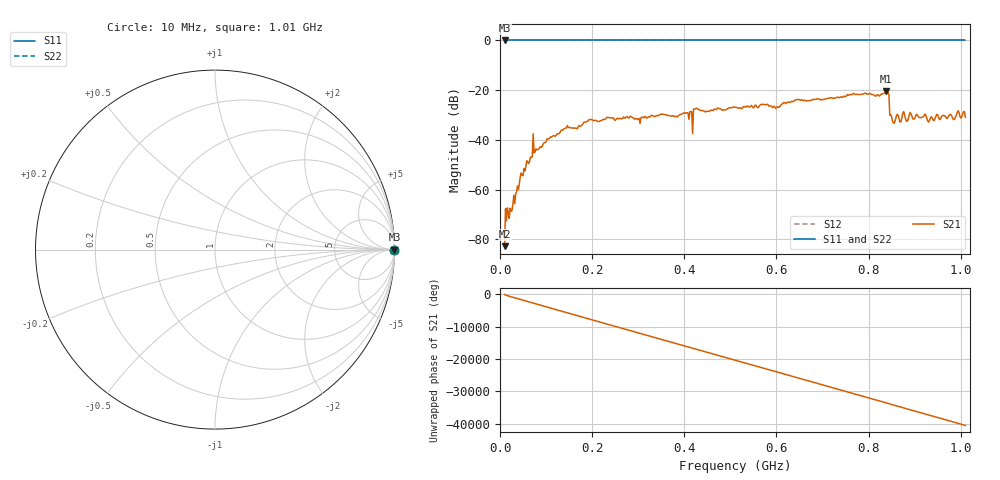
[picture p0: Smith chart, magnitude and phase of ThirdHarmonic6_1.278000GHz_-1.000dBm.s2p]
! 8/16/2025 1:53:13 PM
! C:\ANRITSUVNA\TEMP\TEMP.S2P
! CHANNEL.1
! TR.MEASUREMENT
! RAW.DATA
! RF.CORRECTION.OFF
! AVERAGING.OFF
! IF.BANDWIDTH: 5KHZ
! SWEEPTYPE:  FREQ.SWEEP(Linear)
! Reference Plane Port Info
! PORT:  PORT1  PORT2
! DISTANCE:  0  m  0  m
! TIME:  0  s  0  s
! PHASE.OFFSET:  0  deg.  0  deg.
! LOSS:  0  dB  0  dB
! REF.LOSS:  0  dB  0  dB
! REF.FREQ:  0  Hz  0  Hz
! Power Info
! POWER:  -20  dBm  -20  dBm
! EFF.POWER:  -20  dBm  -20  dBm
! SOURCE.ATTEN:  0  dB  0  dB
! TEST.ATTEN:  0  dB  0  dB
# GHZ S RI R 50.0
! FREQ.GHZ  S11RE  S11IM  S21RE  S21IM  S12RE  S12IM  S22RE  S22IM
!; PortSelection: Port_12
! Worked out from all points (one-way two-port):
!   501 points, 10 MHz to 1.01 GHz, reference 50 ohm
!   highest |S21| = -20.34 dB at 838 MHz (marker M1); lowest = -82.8 dB at 10 MHz (marker M2)
!   lowest |S11| = 0.0 dB at 10 MHz (marker M3)
!   |S11| at or under -10 dB: nowhere
!   |S22| runs from 0.0 to 0.0 dB; largest |S21 - S12| = 1.1
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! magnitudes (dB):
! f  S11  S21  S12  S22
! 10 MHz  0.0  -82.8  0.0  0.0
! 16 MHz  0.0  -67.4  0.0  0.0
! 24 MHz  0.0  -68.7  0.0  0.0
! 48 MHz  0.0  -54.2  0.0  0.0
! 76 MHz  0.0  -44.9  0.0  0.0
! 142 MHz  0.0  -35.3  0.0  0.0
! 178 MHz  0.0  -34.1  0.0  0.0
! 196 MHz  0.0  -31.9  0.0  0.0
! 344 MHz  0.0  -30.3  0.0  0.0
! 404 MHz  0.0  -29.1  0.0  0.0
! 414 MHz  0.0  -28.6  0.0  0.0
! 424 MHz  0.0  -27.5  0.0  0.0
! 510 MHz  0.0  -26.9  0.0  0.0
! 602 MHz  0.0  -26.7  0.0  0.0
! 678 MHz  0.0  -24.0  0.0  0.0
! 838 MHz  0.0  -20.3  0.0  0.0
! 844 MHz  0.0  -22.0  0.0  0.0
! 850 MHz  0.0  -30.8  0.0  0.0
! 854 MHz  0.0  -33.3  0.0  0.0
! 876 MHz  0.0  -28.6  0.0  0.0
! 930 MHz  0.0  -32.9  0.0  0.0
! 1.01 GHz  0.0  -30.9  0.0  0.0
